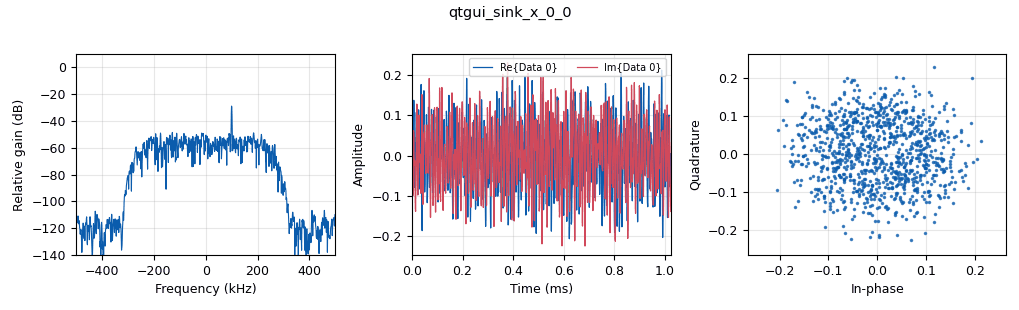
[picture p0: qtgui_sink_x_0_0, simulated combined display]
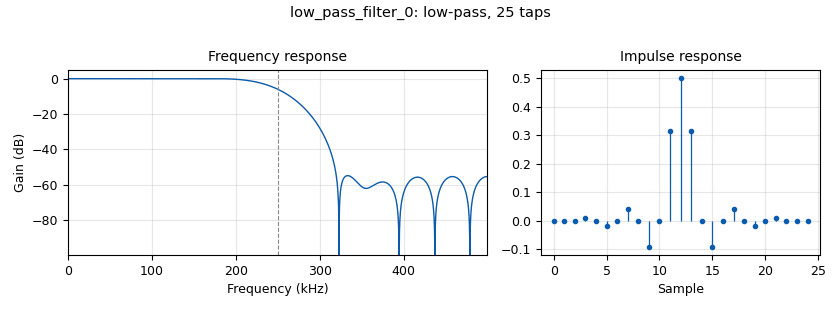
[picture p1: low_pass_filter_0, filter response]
options:
  parameters:
    generate_options: qt_gui
    id: rfnoc_rational_resampler
    output_language: python
  states: {}

blocks:
- name: input_rate
  id: variable
  parameters:
    value: 1e6
  states: {}
- name: input_sine_freq
  id: variable
  parameters:
    value: 100e3
  states: {}
- name: lowpass_cutoff
  id: variable
  parameters:
    value: '0.25'
  states: {}
- name: variable_ettus_device3_0
  id: variable_ettus_device3
  parameters:
    dev_addr: '"type=%s" % (device)'
    dev_args: ''
  states: {}
- name: analog_fastnoise_source_x_0
  id: analog_fastnoise_source_x
  parameters:
    amp: '0.1'
    noise_type: analog.GR_GAUSSIAN
    samples: '8192'
    seed: '0'
    type: complex
  states: {}
- name: analog_sig_source_x_0
  id: analog_sig_source_x
  parameters:
    amp: '0.1'
    freq: input_sine_freq
    offset: '0'
    phase: '0'
    samp_rate: input_rate
    type: complex
    waveform: analog.GR_SIN_WAVE
  states: {}
- name: blocks_add_xx_0
  id: blocks_add_xx
  parameters:
    type: complex
  states: {}
- name: blocks_throttle_0
  id: blocks_throttle
  parameters:
    samples_per_second: input_rate
    type: complex
  states: {}
- name: decim
  id: parameter
  parameters:
    label: Decimation Factor
    type: eng_float
    value: '4'
  states: {}
- name: device
  id: parameter
  parameters:
    label: Ettus Device Type
    value: x300
  states: {}
- name: ettus_rfnoc_streamer_ddc_0
  id: ettus_rfnoc_streamer_ddc
  parameters:
    block_index: '-1'
    device_index: '-1'
    fpga_module_name: noc_block_ddc
    freq: '0.0'
    fullscale: '1.0'
    grvlen: '1'
    input_rate: input_rate*interp
    num_chans: '1'
    output_rate: input_rate*interp/decim
  states: {state: disabled}
- name: ettus_rfnoc_streamer_duc_0
  id: ettus_rfnoc_streamer_duc
  parameters:
    block_index: '-1'
    device_index: '-1'
    fpga_module_name: noc_block_duc
    freq: '0.0'
    fullscale: '1.0'
    grvlen: '1'
    input_rate: input_rate
    output_rate: input_rate*interp
  states: {state: disabled}
- name: ettus_rfnoc_streamer_fifo_0
  id: ettus_rfnoc_streamer_fifo
  parameters:
    block_index: '-1'
    device_index: '-1'
    fpga_module_name: noc_block_axi_fifo_loopback
    grvlen: '1'
    otw: sc16
    type: fc32
  states: {}
- name: interp
  id: parameter
  parameters:
    label: Interpolation Factor
    type: eng_float
    value: '6'
  states: {}
- name: low_pass_filter_0
  id: low_pass_filter
  parameters:
    cutoff_freq: input_rate*lowpass_cutoff
    decim: '1'
    gain: '1'
    samp_rate: input_rate
    type: fir_filter_ccf
    width: input_rate*0.1
    win: firdes.WIN_HAMMING
  states: {}
- name: mclk
  id: parameter
  parameters:
    label: Master Clock Rate
    type: eng_float
    value: 125e6
  states: {state: disabled}
- name: qtgui_sink_x_0
  id: qtgui_sink_x
  parameters:
    bw: input_rate*interp/decim
    fc: '0'
    fftsize: '1024'
    showports: 'True'
    type: complex
    wintype: firdes.WIN_BLACKMAN_hARRIS
  states: {}
- name: qtgui_sink_x_0_0
  id: qtgui_sink_x
  parameters:
    bw: input_rate
    fc: '0'
    fftsize: '1024'
    showports: 'True'
    type: complex
    wintype: firdes.WIN_BLACKMAN_hARRIS
  states: {}
- name: theseus_rfnoc_ducddc_0
  id: theseus_rfnoc_ducddc
  parameters:
    block_index: '-1'
    decim: decim
    device_index: '-1'
    fpga_module_name: noc_block_ducddc
    fullscale: '1.0'
    grvlen: '1'
    input_rate: input_rate
    interp: interp
    num_chans: '1'
    otw: sc16
    output_rate: input_rate*interp/decim
    type: fc32
  states: {}

connections:
- [analog_fastnoise_source_x_0, '0', blocks_add_xx_0, '0']
- [analog_sig_source_x_0, '0', blocks_add_xx_0, '1']
- [blocks_add_xx_0, '0', low_pass_filter_0, '0']
- [blocks_throttle_0, '0', ettus_rfnoc_streamer_duc_0, '0']
- [blocks_throttle_0, '0', qtgui_sink_x_0_0, '0']
- [blocks_throttle_0, '0', theseus_rfnoc_ducddc_0, '0']
- [ettus_rfnoc_streamer_ddc_0, '0', ettus_rfnoc_streamer_fifo_0, '0']
- [ettus_rfnoc_streamer_duc_0, '0', ettus_rfnoc_streamer_ddc_0, '0']
- [ettus_rfnoc_streamer_fifo_0, '0', qtgui_sink_x_0, '0']
- [low_pass_filter_0, '0', blocks_throttle_0, '0']
- [theseus_rfnoc_ducddc_0, '0', ettus_rfnoc_streamer_fifo_0, '0']

metadata:
  file_format: 1
